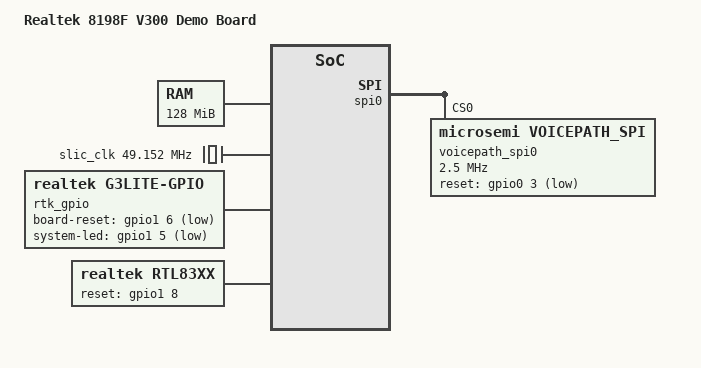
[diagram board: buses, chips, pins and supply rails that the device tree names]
/*
 * dts file for Realtek 8198F V100 Demo Board
 *
 * Copyright (C) 2016, Realtek Semiconductor
 *
 */

/dts-v1/;

#include <dt-bindings/gpio/gpio.h>
#include "rtl8198f-soc.dtsi"
#include "rtl8198f-crypto.dtsi"

/* board specific and SoC overrides below */
/ {
	model = "Realtek 8198F V300 Demo Board";
	compatible = "cortina,g3fpga";
	#address-cells = <1>;
	#size-cells = <1>;
	interrupt-parent = <&gic>;

	aliases {
		serial0 = &uart0;
	};

	memory { /* 128MB */
		device_type = "memory";
		reg = <0x00000000 0x08000000>;
	};

	ca_peri{
		compatible = "cortina,ca-peri";
		reg = <0xf4329018  0x400>,
		      <0xf4320000  0x60>;
	};

	/* APB clock varies based on G3 config */
	/* TODO: develop clock driver to switch between freq. for now use fixed freq. */
	apb_pclk: g3_apb_pclk {
		compatible = "fixed-clock";
		#clock-cells = <0>;
		clock-frequency = <125000000>;
	};

	sd_clk: g3_sd_clk {
		compatible = "fixed-clock";
		#clock-cells = <0>;
		clock-frequency = <50000000>;
	};

	slic_clk: ext_slic_clk {
		compatible = "fixed-clock";
		#clock-cells = <0>;

		/* extclk ONLY and extclk divided internally to generate sclk
		 * ISI:24576000, ZSI:49152000
		 */
		clock-frequency = <49152000>;
		clock-output-names = "ext-slic-clk";

#if 0
		/* extclk & extsclk BOTH
		 * ISI: extclk - 24576000/extsclk - 2048000
		 * ZSI: extclk - 49152000/extsclk - 2048000
		 */
		clock-frequency = <2048000>;
		clock-output-names = "ext-slic-sclk";
#endif
	};

#if 0
	/* SD clock provides 50/100/200 Mhz */
	/* TODO: develop clock driver to switch between this freq. for now use fixed freq. */
	sd_clk: g3_sd_clk {
		compatible = "fixed-clock";
		#clock-cells = <0>;
		clock-frequency = <50000000>;
	};
	/* PCIe clock provides 250 Mhz */
	pcie_clk: g3_pcie_clk {
		compatible = "fixed-clock";
		#clock-cells = <0>;
		clock-frequency = <250000000>;
	};
	/* PCIe BUS clock provides 250 Mhz */
	pcie_bclk: g3_pcie_bclk {
		compatible = "fixed-clock";
		#clock-cells = <0>;
		clock-frequency = <250000000>;
	};

	/* USB 2 clock provides 60 Mhz */
	usb2_clk: g3_usb2_clk {
		compatible = "fixed-clock";
		#clock-cells = <0>;
		clock-frequency = <60000000>;
	};

	smb { /* simple bus */

		uart0: uart@0xf4570114 {
			device_type = "serial";
			compatible = "cortina,serial";
			reg = <0xf4570114 0x30>; /* TODO - when memory map available */
			clocks = <&apb_pclk>;
			clock-names = "apb_pclk";
			interrupts = <0 32 0x1>; /* TODO - when interrupt map available */
		};

		uart1: uart@f4570144 {
			device_type = "serial";
			compatible = "cortina,serial";
			reg = <0x0 0xf4570144 0x0 0x30>; /* TODO - when memory map available */
			clocks = <&apb_pclk>;
			interrupts = <0 32 0x1>; /* edge triggered */
		};

	};
#endif

#if 0
	pon@f4329000 {
		compatible = "cortina,ca77xx-pon";
		reg = <0xf4329000 0x400>;
		pon-gpio = <&gpio0 9 GPIO_ACTIVE_LOW>;
		interrupt-parent = <&gpio0>;
		interrupts = <9 IRQ_TYPE_EDGE_RISING>;
	};
#endif

	sflash@f4324000 {
		#address-cells = <1>;
		#size-cells = <1>;
		compatible = "cortina,sflash";
		reg = <0xf4324000 0x50>;
		sflash_mem_addr = <0xE0000000>;
		sflash_mem_size = <0x2000000>;

		bootloader@0 {
			label = "bootloader";
			reg = <0x0 0x70000>;
		};

		env@70000 {
			label = "env";
			reg = <0x70000 0x10000>;
		};

		config@80000 {
			label = "config";
			reg = <0x80000 0x80000>;
		};

		dtb@100000 {
			label = "DTB0";
			reg = <0x100000 0x10000>;
		};

		kernel@110000 {
			label = "k0";
			reg = <0x110000 0x280000>;
		};

		user@390000 {
			label = "r0";
			reg = <0x390000 0xC70000>;
		};
	};

	chosen {
		bootargs = "console=ttyS0,115200 mem=128M root=/dev/mtdblock5";
	};

	rtk_gpio {
		compatible = "realtek,g3lite-gpio";
		board-reset-gpio = <&gpio1 6 GPIO_ACTIVE_LOW>;
		system-led-gpio = <&gpio1 5 GPIO_ACTIVE_LOW>;
		#wps-gpio = <&gpio1 6 GPIO_ACTIVE_LOW>;
		#wifi2G-led-gpio = <&gpio1 17 GPIO_ACTIVE_LOW>;
	};

	rtl83xx {
		compatible = "realtek,rtl83xx";
		reset-gpio = <&gpio1 8 GPIO_ACTIVE_HIGH>;
	};
};

#if 0
/* "okay" - turn on, "disabled" - turn off */
&pcie0 {
	status = "disabled";
	/* ace-enable; */
	forced-gen1;
	reset-gpio = <&gpio0 0 GPIO_ACTIVE_LOW>;
};

&pcie1 {
	status = "disabled";
	/* ace-enable; */
	forced-gen1;
	reset-gpio = <&gpio0 1 GPIO_ACTIVE_LOW>;
};

&pcie2 {
	status = "disabled";
	/* ace-enable; */
	forced-gen1;
	reset-gpio = <&gpio0 2 GPIO_ACTIVE_LOW>;
};
#endif

&spi0 {
	/* explained here proslic_api/docs/ProSLIC_API_QuickStart_Linux.pdf */
#if 0
	/* Si32183: channel_count = 1, with isi, mode spi-cpha
	 * Si32285: channel_count = 2, with isi, mode spi-cpha
	 */
	proslic_spi0: proslic_spi0@0 {
		compatible = "silabs,proslic_spi", "rohm,dh2228fv";
		status = "okay";
		spi-max-frequency = <2500000>;
		reg = <0>;
		isi;
		spi-cpha;
		channel_count = <2>;
		debug_level = <7>;
		reset-gpio = <&gpio0 3 GPIO_ACTIVE_LOW>;
	};
#endif

#if 0
	/* Si32287: channel_count = 1, w/o isi, mode spi-cpha/spi-cpol */
	proslic_spi0: proslic_spi0@0 {
		compatible = "silabs,proslic_spi", "rohm,dh2228fv";
		status = "okay";
		spi-max-frequency = <2500000>;
		reg = <0>;
		spi-cpha;
		spi-cpol;
		channel_count = <2>;
		debug_level = <7>;
		reset-gpio = <&gpio0 3 GPIO_ACTIVE_LOW>;
	};
#endif

#if 1
	voicepath_spi0: voicepath_spi0@0 {
		compatible = "microsemi,voicepath_spi", "rohm,dh2228fv";
		status = "okay";
		spi-max-frequency = <2500000>;
		reg = <0>;
		zsi;
		spi-cpha;
		spi-cpol;
		spi-delay = <3>; /* 12T(pclk) */
		channel_count = <2>;
		debug_level = <7>;
		reset-gpio = <&gpio0 3 GPIO_ACTIVE_LOW>;
        };
#endif
};

&audio {
	clocks = <&slic_clk>;
};
